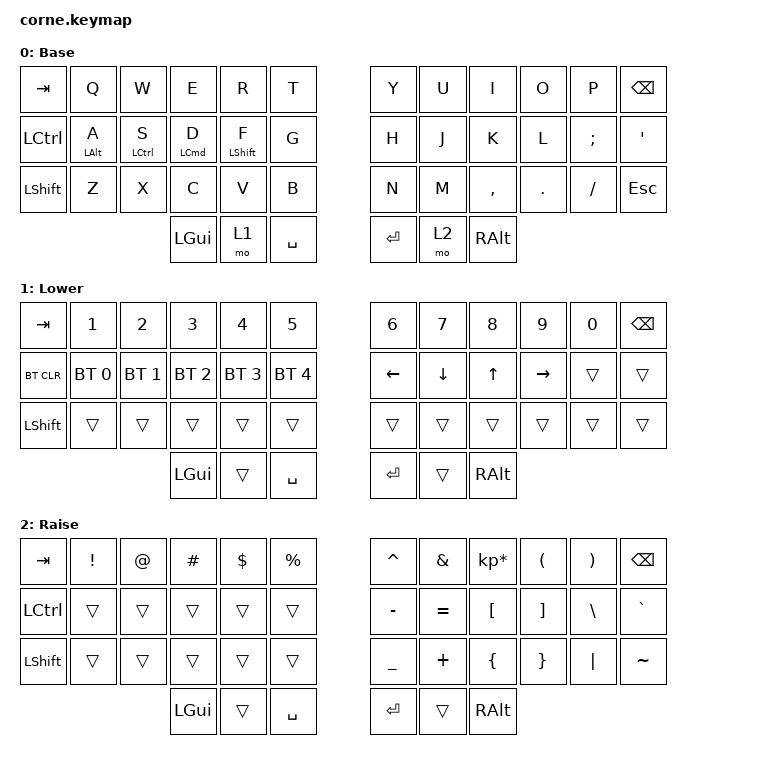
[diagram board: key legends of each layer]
/*
 * Copyright (c) 2020 The ZMK Contributors
 *
 * SPDX-License-Identifier: MIT
 */

#include <behaviors.dtsi>
#include <dt-bindings/zmk/bt.h>
#include <dt-bindings/zmk/keys.h>

// HOME ROW MODS

/ {
    behaviors {
        hml: hml {
            compatible = "zmk,behavior-hold-tap";
            bindings = <&kp>, <&kp>;

            #binding-cells = <2>;
            tapping-term-ms = <250>;
            quick-tap-ms = <175>;
            require-prior-idle-ms = <100>;
            flavor = "balanced";
            hold-trigger-on-release;
            hold-trigger-key-positions = <36 37 38 6 7 8 9 10 11 18 19 20 21 22 23 30 31 32 33 34 35 39 40 41>;
        };

        hmr: hmr {
            compatible = "zmk,behavior-hold-tap";
            bindings = <&kp>, <&kp>;

            #binding-cells = <2>;
            tapping-term-ms = <250>;
            quick-tap-ms = <175>;
            require-prior-idle-ms = <100>;
            flavor = "balanced";
            hold-trigger-on-release;
            hold-trigger-key-positions = <39 40 41 0 1 2 3 4 5 12 13 14 15 16 17 24 25 26 27 28 29 36 37 38>;
        };

        hmr_colon: hmr_colon {
            compatible = "zmk,behavior-hold-tap";
            bindings = <&kp>, <&kp>;

            #binding-cells = <2>;
            tapping-term-ms = <250>;
            quick-tap-ms = <175>;
            require-prior-idle-ms = <100>;
            flavor = "balanced";
            hold-trigger-on-release;
        };
    };
};

/ {
    keymap {
        compatible = "zmk,keymap";

        default_layer {
            // -----------------------------------------------------------------------------------------
            // |  TAB |  Q  |  W  |  E  |  R  |  T  |   |  Y  |  U   |  I  |  O  |  P  | BKSP |
            // | CTRL |  A  |  S  |  D  |  F  |  G  |   |  H  |  J   |  K  |  L  |  ;  |  '   |
            // | SHFT |  Z  |  X  |  C  |  V  |  B  |   |  N  |  M   |  ,  |  .  |  /  | ESC  |
            //                    | GUI | LWR | SPC |   | ENT | RSE  | ALT |

            display-name = "Base";
            bindings = <
&kp TAB    &kp Q        &kp W         &kp E        &kp R         &kp T        &kp Y    &kp U  &kp I      &kp O    &kp P     &kp BSPC
&kp LCTRL  &hml LALT A  &hml LCTRL S  &hml LCMD D  &hml LSHFT F  &kp G        &kp H    &kp J  &kp K      &kp L    &kp SEMI  &kp SQT
&kp LSHFT  &kp Z        &kp X         &kp C        &kp V         &kp B        &kp N    &kp M  &kp COMMA  &kp DOT  &kp FSLH  &kp ESC
                                      &kp LGUI     &mo 1         &kp SPACE    &kp RET  &mo 2  &kp RALT
            >;
        };

        lower_layer {
            // -----------------------------------------------------------------------------------------
            // |  TAB |  1  |  2  |  3  |  4  |  5  |   |  6  |  7  |  8  |  9  |  0  | BKSP |
            // | BTCLR| BT1 | BT2 | BT3 | BT4 | BT5 |   | LFT | DWN |  UP | RGT |     |      |
            // | SHFT |     |     |     |     |     |   |     |     |     |     |     |      |
            //                    | GUI |     | SPC |   | ENT |     | ALT |

            display-name = "Lower";
            bindings = <
&kp TAB     &kp N1        &kp N2        &kp N3        &kp N4        &kp N5          &kp N6    &kp N7    &kp N8    &kp N9     &kp N0  &kp BSPC
&bt BT_CLR  &bt BT_SEL 0  &bt BT_SEL 1  &bt BT_SEL 2  &bt BT_SEL 3  &bt BT_SEL 4    &kp LEFT  &kp DOWN  &kp UP    &kp RIGHT  &trans  &trans
&kp LSHFT   &trans        &trans        &trans        &trans        &trans          &trans    &trans    &trans    &trans     &trans  &trans
                                        &kp LGUI      &trans        &kp SPACE       &kp RET   &trans    &kp RALT
            >;
        };

        raise_layer {
            // -----------------------------------------------------------------------------------------
            // |  TAB |  !  |  @  |  #  |  $  |  %  |   |  ^  |  &  |  *  |  (  |  )  | BKSP |
            // | CTRL |     |     |     |     |     |   |  -  |  =  |  [  |  ]  |  \  |  `   |
            // | SHFT |     |     |     |     |     |   |  _  |  +  |  {  |  }  | "|" |  ~   |
            //                    | GUI |     | SPC |   | ENT |     | ALT |

            display-name = "Raise";
            bindings = <
&kp TAB    &kp EXCL  &kp AT  &kp HASH  &kp DLLR  &kp PRCNT    &kp CARET  &kp AMPS   &kp KP_MULTIPLY  &kp LPAR  &kp RPAR  &kp BSPC
&kp LCTRL  &trans    &trans  &trans    &trans    &trans       &kp MINUS  &kp EQUAL  &kp LBKT         &kp RBKT  &kp BSLH  &kp GRAVE
&kp LSHFT  &trans    &trans  &trans    &trans    &trans       &kp UNDER  &kp PLUS   &kp LBRC         &kp RBRC  &kp PIPE  &kp TILDE
                             &kp LGUI  &trans    &kp SPACE    &kp RET    &trans     &kp RALT
            >;
        };

        extra_1 { status = "reserved"; };

        extra_2 { status = "reserved"; };

        extra_3 { status = "reserved"; };
    };
};
